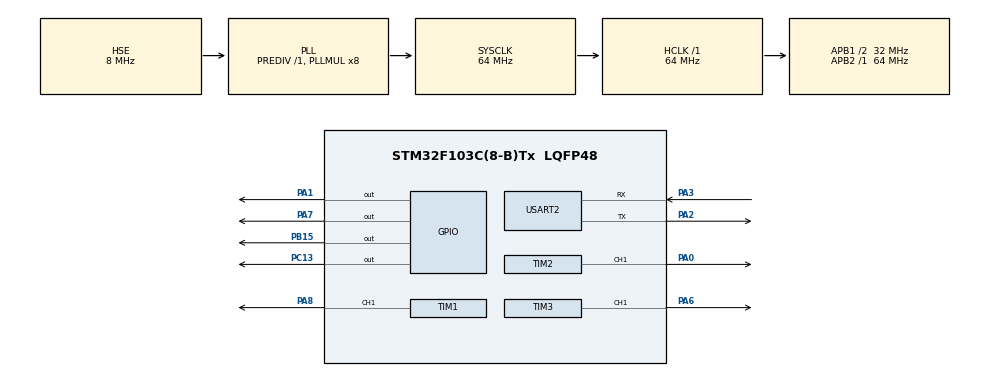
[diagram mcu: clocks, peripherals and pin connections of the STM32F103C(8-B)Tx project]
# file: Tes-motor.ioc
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Mcu.Family=STM32F1
Mcu.Name=STM32F103C(8-B)Tx
Mcu.Package=LQFP48
NVIC.PriorityGroup=NVIC_PRIORITYGROUP_4
NVIC.TIM1_CC_IRQn=true\:0\:0\:false\:false\:true\:true\:true\:true
NVIC.TIM1_UP_IRQn=true\:0\:0\:false\:false\:true\:true\:true\:true
NVIC.TIM2_IRQn=true\:0\:0\:false\:false\:true\:true\:true\:true
NVIC.TIM3_IRQn=true\:0\:0\:false\:false\:true\:true\:true\:true
NVIC.USART2_IRQn=true\:0\:0\:false\:false\:true\:true\:true\:true
PA0-WKUP.Signal=S_TIM2_CH1_ETR
PA1.Signal=GPIO_Output
PA13.Mode=Serial_Wire
PA13.Signal=SYS_JTMS-SWDIO
PA14.Mode=Serial_Wire
PA14.Signal=SYS_JTCK-SWCLK
PA2.Mode=Asynchronous
PA2.Signal=USART2_TX
PA3.Mode=Asynchronous
PA3.Signal=USART2_RX
PA6.Signal=S_TIM3_CH1
PA7.Signal=GPIO_Output
PA8.Signal=S_TIM1_CH1
PB15.Signal=GPIO_Output
PC13-TAMPER-RTC.Signal=GPIO_Output
PD0-OSC_IN.Mode=HSE-External-Oscillator
PD0-OSC_IN.Signal=RCC_OSC_IN
PD1-OSC_OUT.Mode=HSE-External-Oscillator
PD1-OSC_OUT.Signal=RCC_OSC_OUT
ProjectManager.HeapSize=0x200
ProjectManager.StackSize=0x400
ProjectManager.TargetToolchain=STM32CubeIDE
RCC.AHBFreq_Value=64000000
RCC.APB1CLKDivider=RCC_HCLK_DIV2
RCC.APB1Freq_Value=32000000
RCC.APB1TimFreq_Value=64000000
RCC.APB2Freq_Value=64000000
RCC.APB2TimFreq_Value=64000000
RCC.HCLKFreq_Value=64000000
RCC.PLLMUL=RCC_PLL_MUL8
RCC.PLLSourceVirtual=RCC_PLLSOURCE_HSE
RCC.SYSCLKFreq_VALUE=64000000
RCC.SYSCLKSource=RCC_SYSCLKSOURCE_PLLCLK
RCC.USBFreq_Value=64000000
SH.S_TIM1_CH1.0=TIM1_CH1,PWM Generation1 CH1
SH.S_TIM2_CH1_ETR.0=TIM2_CH1,PWM Generation1 CH1
SH.S_TIM3_CH1.0=TIM3_CH1,PWM Generation1 CH1
TIM1.AutoReloadPreload=TIM_AUTORELOAD_PRELOAD_ENABLE
TIM1.Channel-PWM\ Generation1\ CH1=TIM_CHANNEL_1
TIM1.Period=999
TIM1.Prescaler=63
TIM1.Pulse-PWM\ Generation1\ CH1=499
TIM2.AutoReloadPreload=TIM_AUTORELOAD_PRELOAD_ENABLE
TIM2.Channel-PWM\ Generation1\ CH1=TIM_CHANNEL_1
TIM2.Period=999
TIM2.Prescaler=63
TIM2.Pulse-PWM\ Generation1\ CH1=499
TIM3.AutoReloadPreload=TIM_AUTORELOAD_PRELOAD_ENABLE
TIM3.Channel-PWM\ Generation1\ CH1=TIM_CHANNEL_1
TIM3.Period=999
TIM3.Prescaler=31
TIM3.Pulse-PWM\ Generation1\ CH1=499
USART2.VirtualMode=VM_ASYNC
VP_TIM1_VS_ClockSourceINT.Mode=Internal
VP_TIM2_VS_ClockSourceINT.Mode=Internal
VP_TIM3_VS_ClockSourceINT.Mode=Internal
board=custom

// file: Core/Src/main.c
/* USER CODE BEGIN Header */
/**
  ******************************************************************************
  * @file           : main.c
  * @brief          : Main program body
  ******************************************************************************
  * @attention
  *
  * Copyright (c) 2025 STMicroelectronics.
  * All rights reserved.
  *
  * This software is licensed under terms that can be found in the LICENSE file
  * in the root directory of this software component.
  * If no LICENSE file comes with this software, it is provided AS-IS.
  *
  ******************************************************************************
  */
/* USER CODE END Header */
#include "main.h"
#include "tim.h"
#include "usart.h"
#include "gpio.h"

/* USER CODE BEGIN Includes */
#include "scara.h"
//#include "Command_Line.h"
#include "Command_Line_Type.h"
#include "Ring_Buffer.h"
/* USER CODE END Includes */

/* USER CODE BEGIN PV */
Scara_Theta Theta1;
Scara_Theta Theta2;
Scara_Theta Theta3;
uint8_t rxdata;
Packed_cmd_t Packed_cmd_theta1[MAX_LENGTH_RING_BUFFER];
Packed_cmd_t Packed_cmd_theta2[MAX_LENGTH_RING_BUFFER];
Packed_cmd_t Packed_cmd_theta3[MAX_LENGTH_RING_BUFFER];
RING_BUFFER_HandleTypeDef ring_buffer_theta1;
RING_BUFFER_HandleTypeDef ring_buffer_theta2;
RING_BUFFER_HandleTypeDef ring_buffer_theta3;
/* USER CODE END PV */

void SystemClock_Config(void);

int main(void)
{

  /* MCU Configuration--------------------------------------------------------*/

  /* Reset of all peripherals, Initializes the Flash interface and the Systick. */
  HAL_Init();

  /* USER CODE BEGIN Init */
  Init_Theta_Joint(&Theta1, &htim1, TIM_CHANNEL_1, GPIOB, GPIO_PIN_15, JOINT_REVOLUTE_3);
  Init_Theta_Joint(&Theta2, &htim2, TIM_CHANNEL_1, GPIOA, GPIO_PIN_1, JOINT_REVOLUTE_9);
  Init_Theta_Joint(&Theta3, &htim3, TIM_CHANNEL_1, GPIOA, GPIO_PIN_7, JOINT_PRISMATIC);
  RING_BUFFER_Init(&ring_buffer_theta1, Packed_cmd_theta1, MAX_LENGTH_RING_BUFFER);
  RING_BUFFER_Init(&ring_buffer_theta2, Packed_cmd_theta2, MAX_LENGTH_RING_BUFFER);
  RING_BUFFER_Init(&ring_buffer_theta3, Packed_cmd_theta3, MAX_LENGTH_RING_BUFFER);
  /* USER CODE END Init */

  /* Configure the system clock */
  SystemClock_Config();

  /* Initialize all configured peripherals */
  MX_GPIO_Init();
  MX_TIM1_Init();
  MX_TIM2_Init();
  MX_TIM3_Init();
  MX_USART2_UART_Init();
  /* USER CODE BEGIN 2 */
//  HAL_TIM_Base_Start_IT(&htim1);
//  Trapezoidal_Profile(0,540,&(Theta1.Vel),Theta1.Type);
//  HAL_TIM_PWM_Start_IT(Theta1.Joint.p_Motor_TIM, Theta1.Joint.Motor_Chanel);
  HAL_UART_Receive_IT(&huart2, &rxdata, 1);
  /* USER CODE END 2 */

  /* Infinite loop */
  while (1)
  {

    /* USER CODE BEGIN 3 */
//	  HAL_GPIO_TogglePin(GPIOC, GPIO_PIN_13);
//	  HAL_Delay(5000);
	  COMMAND_LINE_Handle();
	  Cmd_control_handle(&ring_buffer_theta1,&Theta1);
	  Cmd_control_handle(&ring_buffer_theta2,&Theta2);
	  Cmd_control_handle(&ring_buffer_theta3,&Theta3);
  }
  /* USER CODE END 3 */
}

void SystemClock_Config(void)
{
  RCC_OscInitTypeDef RCC_OscInitStruct = {0};
  RCC_ClkInitTypeDef RCC_ClkInitStruct = {0};

  /** Initializes the RCC Oscillators according to the specified parameters
  * in the RCC_OscInitTypeDef structure.
  */
  RCC_OscInitStruct.OscillatorType = RCC_OSCILLATORTYPE_HSE;
  RCC_OscInitStruct.HSEState = RCC_HSE_ON;
  RCC_OscInitStruct.HSEPredivValue = RCC_HSE_PREDIV_DIV1;
  RCC_OscInitStruct.HSIState = RCC_HSI_ON;
  RCC_OscInitStruct.PLL.PLLState = RCC_PLL_ON;
  RCC_OscInitStruct.PLL.PLLSource = RCC_PLLSOURCE_HSE;
  RCC_OscInitStruct.PLL.PLLMUL = RCC_PLL_MUL8;
  if (HAL_RCC_OscConfig(&RCC_OscInitStruct) != HAL_OK)
  {
    Error_Handler();
  }

  /** Initializes the CPU, AHB and APB buses clocks
  */
  RCC_ClkInitStruct.ClockType = RCC_CLOCKTYPE_HCLK|RCC_CLOCKTYPE_SYSCLK
                              |RCC_CLOCKTYPE_PCLK1|RCC_CLOCKTYPE_PCLK2;
  RCC_ClkInitStruct.SYSCLKSource = RCC_SYSCLKSOURCE_PLLCLK;
  RCC_ClkInitStruct.AHBCLKDivider = RCC_SYSCLK_DIV1;
  RCC_ClkInitStruct.APB1CLKDivider = RCC_HCLK_DIV2;
  RCC_ClkInitStruct.APB2CLKDivider = RCC_HCLK_DIV1;

  if (HAL_RCC_ClockConfig(&RCC_ClkInitStruct, FLASH_LATENCY_2) != HAL_OK)
  {
    Error_Handler();
  }
}

/* USER CODE BEGIN 4 */
void HAL_TIM_PWM_PulseFinishedCallback(TIM_HandleTypeDef *htim){
	if(htim->Instance == Theta1.Joint.p_Motor_TIM->Instance){
//		if(Theta1.cnt_pulse < Theta1.Vel.Acc_step_index){
//			Set_Joint_Speed(&Theta1, Theta1.Vel.ARR_val);
//			Theta1.Vel.ARR_val--;
//		}else if(Theta1.cnt_pulse > Theta1.Vel.De_step_index){
//			Set_Joint_Speed(&Theta1, Theta1.Vel.ARR_val);
//			Theta1.Vel.ARR_val++;
//		}
//		Theta1.cnt_pulse++;
//		if(Theta1.cnt_pulse == Theta1.Vel.N_step) {
//			HAL_TIM_PWM_Stop_IT(Theta1.Joint.p_Motor_TIM, Theta1.Joint.Motor_Chanel);
//			return;//reach target
//		}
		Handle_Theta(&Theta1);
	}else if(htim->Instance == Theta2.Joint.p_Motor_TIM->Instance){
		Handle_Theta(&Theta2);
	}else if(htim->Instance == Theta3.Joint.p_Motor_TIM->Instance){
		Handle_Theta(&Theta3);
	}
}
void HAL_UART_RxCpltCallback(UART_HandleTypeDef *huart){
	if(huart->Instance == huart2.Instance){
		COMMAND_LINE_Receive(rxdata);
		HAL_UART_Receive_IT(&huart2, &rxdata, 1);
	}
}
/* USER CODE END 4 */

void Error_Handler(void)
{
  __disable_irq();
  while (1)
  {
  }
}
